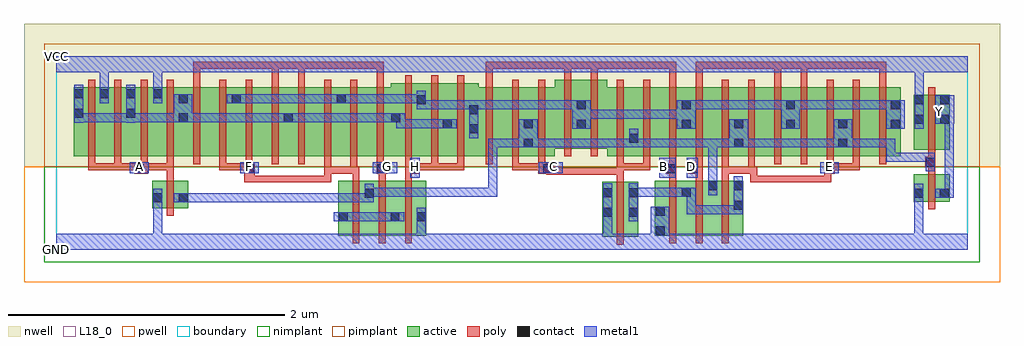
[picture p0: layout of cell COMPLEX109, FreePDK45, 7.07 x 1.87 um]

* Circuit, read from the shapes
.subckt COMPLEX109 A B C D E F G GND H VCC Y
M1 n1 A GND VSUBS nfet w=0.2u l=0.05u
M2 n1 F n2 VSUBS nfet w=0.4u l=0.05u
M3 n2 G n1 VSUBS nfet w=0.4u l=0.05u
M4 GND H n2 VSUBS nfet w=0.4u l=0.05u
M5 n3 C GND VSUBS nfet w=0.4u l=0.05u
M6 n3 B GND VSUBS nfet w=0.4u l=0.05u
M7 n1 D n3 VSUBS nfet w=0.4u l=0.05u
M8 n3 E n1 VSUBS nfet w=0.4u l=0.05u
M9 Y n1 GND VSUBS nfet w=0.2u l=0.05u
M10 VCC A n4 n5 pfet w=0.5u l=0.05u m=4
M11 n6 G n4 n5 pfet w=0.5u l=0.05u
M12 n7 F n6 n5 pfet w=0.5u l=0.05u
M13 n8 F n7 n5 pfet w=0.5u l=0.05u
M14 n4 G n8 n5 pfet w=0.5u l=0.05u
M15 n9 G n4 n5 pfet w=0.5u l=0.05u
M16 n7 F n9 n5 pfet w=0.5u l=0.05u
M17 n10 F n7 n5 pfet w=0.5u l=0.05u
M18 n4 G n10 n5 pfet w=0.5u l=0.05u
M19 n7 H n4 n5 pfet w=0.532u l=0.05u m=3
M20 n11 B n7 n5 pfet w=0.5u l=0.05u
M21 n1 C n11 n5 pfet w=0.5u l=0.05u
M22 n12 C n1 n5 pfet w=0.5u l=0.05u
M23 n7 B n12 n5 pfet w=0.5u l=0.05u
M24 n13 B n7 n5 pfet w=0.5u l=0.05u
M25 n1 C n13 n5 pfet w=0.5u l=0.05u
M26 n14 C n1 n5 pfet w=0.5u l=0.05u
M27 n7 B n14 n5 pfet w=0.5u l=0.05u
M28 n15 D n7 n5 pfet w=0.5u l=0.05u
M29 n1 E n15 n5 pfet w=0.5u l=0.05u
M30 n16 E n1 n5 pfet w=0.5u l=0.05u
M31 n7 D n16 n5 pfet w=0.5u l=0.05u
M32 n17 D n7 n5 pfet w=0.5u l=0.05u
M33 n1 E n17 n5 pfet w=0.5u l=0.05u
M34 n18 E n1 n5 pfet w=0.5u l=0.05u
M35 n7 D n18 n5 pfet w=0.5u l=0.05u
M36 Y n1 VCC n5 pfet w=0.4u l=0.05u
.ends

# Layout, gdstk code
import gdstk
lib = gdstk.Library(unit=1e-6, precision=1e-09)
def R(c, l, rs):  # rectangles x0, y0, x1, y1
    for r in rs: c.add(gdstk.rectangle(r[:2], r[2:], *l))
def A(c, l, x, y, w, h, nx, ny, dx, dy):  # array of equal rectangles
    R(c, l, [(x+i*dx, y+j*dy, x+i*dx+w, y+j*dy+h) for i in range(nx) for j in range(ny)])
active = (1, 0)
pwell = (2, 0)
nwell = (3, 0)
nimplant = (4, 0)
pimplant = (5, 0)
poly = (9, 0)
contact = (10, 0)
metal1 = (11, 0)
L18_0 = (18, 0)
boundary = (235, 0)

complex109 = lib.new_cell('COMPLEX109')
A(complex109, active, 3.99, 0.675, 0.23, 0.5, 3, 1, 0.38, 0)
A(complex109, active, 4.145, 0.675, 0.225, 0.5, 3, 1, 0.38, 0)
A(complex109, active, 5.13, 0.675, 0.225, 0.5, 3, 1, 0.38, 0)
R(complex109, active, [(3.955,0.092,4.215,0.492), (2.04,0.1,2.305,0.5), (2.23,0.1,2.49,0.5), (2.415,0.1,2.68,0.5), (2.605,0.1,2.68,0.5), (4.335,0.1,4.6,0.5), (4.335,0.1,4.41,0.5), (4.525,0.1,4.79,0.5), (4.715,0.1,4.975,0.5), (3.955,0.132,4.03,0.492), (2.04,0.147,2.115,0.5), (2.23,0.147,2.305,0.492), (2.415,0.147,2.49,0.492), (4.14,0.147,4.215,0.492), (4.525,0.147,4.6,0.5), (4.715,0.147,4.79,0.5), (4.9,0.147,4.975,0.5), (0.695,0.3,0.955,0.5), (0.88,0.3,0.955,0.5), (0.695,0.337,0.77,0.5), (6.21,0.347,6.285,0.547), (6.21,0.347,6.47,0.547), (6.395,0.347,6.47,0.547), (0.125,0.675,0.385,1.175), (0.125,0.675,0.2,1.165), (0.31,0.675,0.385,1.175), (0.31,0.675,0.575,1.175), (0.5,0.675,0.575,1.175), (0.5,0.675,0.77,1.175), (0.695,0.675,0.77,1.175), (0.695,0.675,0.955,1.175), (0.88,0.675,1.11,1.175), (0.88,0.675,0.955,1.175), (1.11,0.675,1.34,1.175), (1.265,0.675,1.49,1.175), (1.49,0.675,1.715,1.175), (1.64,0.675,1.87,1.175), (1.87,0.675,2.1,1.175), (2.025,0.675,2.1,1.157), (2.025,0.675,2.25,1.175), (2.25,0.675,2.495,1.175), (2.42,0.675,2.495,1.07), (2.42,0.675,2.68,1.207), (2.605,0.675,2.87,1.207), (2.795,0.675,2.87,1.07), (2.795,0.675,3.06,1.207), (2.985,0.675,3.06,1.157), (2.985,0.675,3.23,1.175), (3.23,0.675,3.455,1.175), (3.38,0.675,3.61,1.175), (3.38,0.675,3.455,1.07), (5.28,0.675,5.51,1.175), (5.66,0.675,5.89,1.175), (5.66,0.675,5.735,1.07), (6.04,0.675,6.115,1.157), (1.265,0.682,1.34,1.157), (4.145,0.682,4.22,1.07), (4.905,0.682,4.98,1.07), (6.212,0.722,6.472,1.122), (6.212,0.722,6.287,1.122), (6.397,0.722,6.472,1.122), (3.61,0.73,3.84,1.23), (3.765,0.73,3.99,1.23), (1.64,0.762,1.715,1.07), (3.765,0.762,3.84,1.157), (4.525,0.762,4.6,1.167), (5.28,0.762,5.355,1.157), (2.605,0.775,2.68,1.2)])
R(complex109, pwell, [(-0.235,-0.235,6.835,0.602)])
R(complex109, nwell, [(-0.235,0.602,6.835,1.635)])
R(complex109, nimplant, [(-0.09,-0.09,6.69,0.602)])
R(complex109, pimplant, [(-0.09,0.602,6.69,1.49)])
A(complex109, poly, 2.145, 0.045, 0.05, 0.51, 3, 1, 0.19, 0)
A(complex109, poly, 4.44, 0.045, 0.05, 0.51, 3, 1, 0.19, 0)
A(complex109, poly, 2.145, 0.505, 0.05, 0.095, 3, 1, 0.19, 0)
A(complex109, poly, 4.44, 0.505, 0.05, 0.095, 3, 1, 0.19, 0)
A(complex109, poly, 0.23, 0.575, 0.05, 0.095, 4, 1, 0.19, 0)
A(complex109, poly, 2.525, 0.575, 0.05, 0.095, 3, 1, 0.19, 0)
A(complex109, poly, 4.06, 0.575, 0.05, 0.095, 4, 1, 0.19, 0)
A(complex109, poly, 0.23, 0.62, 0.05, 0.61, 12, 1, 0.19, 0)
A(complex109, poly, 2.525, 0.62, 0.05, 0.642, 3, 1, 0.19, 0)
A(complex109, poly, 3.11, 0.62, 0.05, 0.61, 3, 1, 0.19, 0)
A(complex109, poly, 4.06, 0.62, 0.05, 0.61, 11, 1, 0.19, 0)
R(complex109, poly, [(4.06,0.037,4.11,0.547), (0.8,0.245,0.85,0.555), (6.315,0.292,6.365,0.602), (1.362,0.487,1.437,0.625), (1.387,0.487,1.65,0.537), (1.6,0.487,1.65,0.537), (1.6,0.487,1.65,0.537), (1.6,0.487,1.65,0.537), (1.6,0.487,1.782,0.537), (1.732,0.487,1.782,0.537), (1.732,0.487,1.782,0.537), (1.732,0.487,1.782,0.537), (1.732,0.487,1.915,0.537), (1.865,0.487,1.915,0.537), (1.865,0.487,1.99,0.537), (1.94,0.487,1.99,0.6), (5.025,0.487,5.075,0.6), (5.025,0.487,5.307,0.537), (5.257,0.487,5.307,0.537), (5.257,0.487,5.307,0.537), (5.257,0.487,5.307,0.537), (5.257,0.487,5.48,0.537), (5.43,0.487,5.48,0.537), (5.43,0.487,5.612,0.537), (5.562,0.487,5.612,0.6), (4.06,0.497,4.11,0.592), (0.8,0.505,0.85,0.625), (3.547,0.542,3.772,0.592), (3.547,0.542,3.597,0.6), (3.722,0.542,3.772,0.592), (3.722,0.542,3.772,0.592), (3.722,0.542,3.772,0.592), (3.722,0.542,3.905,0.592), (3.855,0.542,3.905,0.592), (3.855,0.542,3.905,0.592), (3.855,0.542,3.905,0.592), (3.855,0.542,4.11,0.592), (4.06,0.542,4.11,0.625), (0.562,0.55,0.66,0.625), (1.94,0.55,2.047,0.6), (1.94,0.55,1.99,0.67), (1.997,0.55,2.047,0.6), (1.997,0.55,2.18,0.6), (2.13,0.55,2.195,0.6), (2.13,0.55,2.18,0.67), (2.32,0.55,2.395,0.625), (2.525,0.55,2.632,0.625), (3.49,0.55,3.597,0.625), (3.547,0.55,3.597,0.6), (4.415,0.55,4.49,0.625), (4.577,0.55,4.68,0.625), (4.82,0.55,4.87,0.6), (4.82,0.55,4.87,0.6), (4.82,0.55,4.87,0.6), (4.82,0.55,5.06,0.6), (4.82,0.55,4.87,0.67), (5.01,0.55,5.06,0.6), (5.01,0.55,5.075,0.6), (5.01,0.55,5.06,0.67), (5.562,0.55,5.637,0.625), (5.562,0.55,5.612,0.6), (6.315,0.552,6.365,0.647), (0.23,0.575,0.28,0.625), (0.23,0.575,0.28,0.625), (0.23,0.575,0.28,0.625), (0.23,0.575,0.47,0.625), (0.42,0.575,0.47,0.625), (0.42,0.575,0.612,0.625), (0.562,0.575,0.612,0.625), (0.562,0.575,0.612,0.625), (0.61,0.575,0.85,0.625), (0.8,0.575,0.85,0.625), (0.8,0.575,0.85,0.625), (0.8,0.575,0.85,0.625), (1.18,0.575,1.23,0.67), (1.18,0.575,1.23,0.625), (1.18,0.575,1.412,0.625), (1.362,0.575,1.412,0.625), (1.362,0.575,1.412,0.625), (1.37,0.575,1.42,0.67), (2.32,0.575,2.37,0.67), (2.582,0.575,2.765,0.625), (2.715,0.575,2.765,0.625), (2.715,0.575,2.765,0.625), (2.715,0.575,2.765,0.625), (2.715,0.575,2.955,0.625), (2.905,0.575,2.955,0.625), (2.905,0.575,2.955,0.625), (2.905,0.575,2.955,0.625), (3.3,0.575,3.35,0.67), (3.3,0.575,3.35,0.625), (3.3,0.575,3.35,0.625), (3.3,0.575,3.35,0.625), (3.3,0.575,3.54,0.625), (3.49,0.575,3.54,0.67), (4.06,0.575,4.11,0.625), (4.06,0.575,4.11,0.625), (4.06,0.575,4.3,0.625), (4.25,0.575,4.3,0.625), (5.58,0.575,5.63,0.67), (5.587,0.575,5.82,0.625), (5.77,0.575,5.82,0.67), (5.77,0.575,5.82,0.625), (5.77,0.575,5.82,0.625), (5.77,0.575,5.82,0.625), (6.292,0.597,6.367,0.672), (6.317,0.622,6.367,0.717), (6.317,0.667,6.367,1.177), (3.68,0.675,3.73,1.285), (3.87,0.675,3.92,1.285), (0.99,1.18,1.04,1.362), (1.56,1.18,1.61,1.362), (1.75,1.18,1.8,1.362), (2.32,1.18,2.37,1.362), (3.11,1.18,3.16,1.362), (4.44,1.18,4.49,1.362), (4.63,1.18,4.68,1.362), (5.2,1.18,5.25,1.362), (5.39,1.18,5.44,1.362), (5.96,1.18,6.01,1.362), (3.68,1.235,3.73,1.362), (3.87,1.235,3.92,1.362), (0.99,1.312,1.04,1.362), (0.99,1.312,1.04,1.362), (0.99,1.312,1.04,1.362), (0.99,1.312,1.21,1.362), (1.16,1.312,1.21,1.362), (1.16,1.312,1.21,1.362), (1.16,1.312,1.21,1.362), (1.16,1.312,1.362,1.362), (1.312,1.312,1.362,1.362), (1.312,1.312,1.61,1.362), (1.56,1.312,1.61,1.362), (1.56,1.312,1.61,1.362), (1.56,1.312,1.61,1.362), (1.56,1.312,1.782,1.362), (1.732,1.312,1.782,1.362), (1.732,1.312,1.8,1.362), (1.75,1.312,1.8,1.362), (1.75,1.312,1.915,1.362), (1.865,1.312,1.915,1.362), (1.865,1.312,2.047,1.362), (1.997,1.312,2.047,1.362), (1.997,1.312,2.047,1.362), (1.997,1.312,2.047,1.362), (1.997,1.312,2.18,1.362), (2.13,1.312,2.18,1.362), (2.13,1.312,2.18,1.362), (2.13,1.312,2.18,1.362), (2.13,1.312,2.37,1.362), (2.32,1.312,2.37,1.362), (3.11,1.312,3.16,1.362), (3.11,1.312,3.16,1.362), (3.11,1.312,3.16,1.362), (3.11,1.312,3.33,1.362), (3.28,1.312,3.33,1.362), (3.28,1.312,3.33,1.362), (3.28,1.312,3.33,1.362), (3.28,1.312,3.597,1.362), (3.547,1.312,3.597,1.362), (3.547,1.312,3.597,1.362), (3.547,1.312,3.597,1.362), (3.547,1.312,3.73,1.362), (3.68,1.312,3.73,1.362), (3.68,1.312,3.73,1.362), (3.68,1.312,3.73,1.362), (3.68,1.312,3.92,1.362), (3.87,1.312,3.92,1.362), (3.87,1.312,3.92,1.362), (3.87,1.312,3.92,1.362), (3.87,1.312,4.167,1.362), (4.117,1.312,4.167,1.362), (4.117,1.312,4.332,1.362), (4.282,1.312,4.332,1.362), (4.282,1.312,4.332,1.362), (4.282,1.312,4.332,1.362), (4.282,1.312,4.49,1.362), (4.44,1.312,4.49,1.362), (4.44,1.312,4.49,1.362), (4.44,1.312,4.49,1.362), (4.63,1.312,4.68,1.362), (4.63,1.312,4.68,1.362), (4.63,1.312,4.68,1.362), (4.63,1.312,4.927,1.362), (4.877,1.312,4.927,1.362), (4.877,1.312,4.927,1.362), (4.877,1.312,4.927,1.362), (4.877,1.312,5.117,1.362), (5.067,1.312,5.117,1.362), (5.067,1.312,5.117,1.362), (5.067,1.312,5.117,1.362), (5.067,1.312,5.25,1.362), (5.2,1.312,5.25,1.362), (5.2,1.312,5.307,1.362), (5.257,1.312,5.307,1.362), (5.257,1.312,5.44,1.362), (5.39,1.312,5.44,1.362), (5.39,1.312,5.44,1.362), (5.39,1.312,5.44,1.362), (5.39,1.312,5.637,1.362), (5.587,1.312,5.637,1.362), (5.587,1.312,5.77,1.362), (5.72,1.312,5.77,1.362), (5.72,1.312,5.77,1.362), (5.72,1.312,5.77,1.362), (5.72,1.312,6.01,1.362), (5.96,1.312,6.01,1.362), (5.96,1.312,6.01,1.362), (5.96,1.312,6.01,1.362)])
R(complex109, contact, [(4.34,0.105,4.405,0.17), (2.045,0.205,2.11,0.27), (2.42,0.205,2.485,0.27), (2.61,0.205,2.675,0.27), (3.96,0.24,4.025,0.305), (4.145,0.24,4.21,0.305), (4.34,0.245,4.405,0.31), (4.905,0.29,4.97,0.355), (0.7,0.342,0.765,0.407), (0.885,0.342,0.95,0.407), (2.235,0.377,2.3,0.442), (6.215,0.377,6.28,0.442), (6.4,0.377,6.465,0.442), (3.96,0.38,4.025,0.445), (4.145,0.38,4.21,0.445), (4.53,0.382,4.595,0.447), (4.72,0.43,4.785,0.495), (4.905,0.43,4.97,0.495), (0.567,0.555,0.632,0.62), (1.367,0.555,1.432,0.62), (2.325,0.555,2.39,0.62), (2.562,0.555,2.627,0.62), (3.527,0.555,3.592,0.62), (4.42,0.555,4.485,0.62), (4.582,0.555,4.647,0.62), (5.567,0.555,5.632,0.62), (6.297,0.602,6.362,0.667), (3.385,0.74,3.45,0.805), (4.91,0.74,4.975,0.805), (5.665,0.74,5.73,0.805), (4.15,0.775,4.215,0.84), (2.99,0.842,3.055,0.907), (3.77,0.877,3.835,0.942), (4.53,0.877,4.595,0.942), (5.285,0.877,5.35,0.942), (6.045,0.877,6.11,0.942), (2.8,0.88,2.865,0.945), (3.385,0.88,3.45,0.945), (4.91,0.88,4.975,0.945), (5.665,0.88,5.73,0.945), (6.217,0.912,6.282,0.977), (6.402,0.912,6.467,0.977), (0.885,0.922,0.95,0.987), (1.645,0.922,1.71,0.987), (2.425,0.922,2.49,0.987), (0.13,0.955,0.195,1.02), (0.505,0.955,0.57,1.02), (2.99,0.982,3.055,1.047), (3.77,1.017,3.835,1.082), (4.53,1.017,4.595,1.082), (5.285,1.017,5.35,1.082), (6.045,1.017,6.11,1.082), (2.61,1.052,2.675,1.117), (6.217,1.052,6.282,1.117), (6.402,1.052,6.467,1.117), (1.27,1.06,1.335,1.125), (2.03,1.06,2.095,1.125), (0.885,1.062,0.95,1.127), (0.13,1.095,0.195,1.16), (0.315,1.095,0.38,1.16), (0.505,1.095,0.57,1.16), (0.7,1.095,0.765,1.16)])
A(complex109, metal1, 4.565, 0.74, 0.065, 0.065, 3, 1, 0.155, 0)
R(complex109, metal1, [(0,0,6.6,0.115), (0.7,0.05,0.765,0.115), (0.7,0.05,0.765,0.115), (0.7,0.05,0.765,0.372), (2.61,0.05,2.675,0.235), (3.96,0.05,4.025,0.27), (4.375,0.05,4.44,0.17), (6.215,0.05,6.28,0.115), (6.215,0.05,6.28,0.115), (6.215,0.05,6.28,0.407), (4.305,0.105,4.44,0.31), (2.61,0.17,2.675,0.305), (2.01,0.205,2.145,0.27), (2.08,0.205,2.145,0.27), (2.08,0.205,2.145,0.27), (2.08,0.205,2.3,0.27), (2.235,0.205,2.3,0.27), (2.235,0.205,2.3,0.27), (2.235,0.205,2.3,0.27), (2.235,0.205,2.45,0.27), (2.385,0.205,2.52,0.27), (3.96,0.205,4.025,0.48), (4.145,0.205,4.21,0.48), (4.905,0.255,4.97,0.53), (4.565,0.257,4.767,0.322), (4.565,0.257,4.63,0.447), (4.702,0.257,4.767,0.322), (4.702,0.257,4.97,0.322), (4.905,0.257,4.97,0.322), (4.905,0.257,4.97,0.322), (0.7,0.307,0.765,0.372), (0.7,0.307,0.765,0.372), (0.7,0.307,0.765,0.442), (0.85,0.342,0.985,0.407), (0.92,0.342,0.985,0.407), (0.92,0.342,0.985,0.407), (0.92,0.342,1.122,0.407), (1.057,0.342,1.122,0.407), (1.057,0.342,1.26,0.407), (1.195,0.342,1.26,0.407), (1.195,0.342,1.26,0.407), (1.195,0.342,1.26,0.407), (1.195,0.342,1.537,0.407), (1.472,0.342,1.537,0.407), (1.472,0.342,1.537,0.407), (1.472,0.342,1.537,0.407), (1.472,0.342,1.675,0.407), (1.61,0.342,1.675,0.407), (1.61,0.342,1.675,0.407), (1.61,0.342,1.675,0.407), (1.61,0.342,1.812,0.407), (1.747,0.342,1.812,0.407), (1.747,0.342,1.882,0.407), (1.817,0.342,1.882,0.407), (1.817,0.342,1.992,0.407), (1.927,0.342,1.992,0.407), (1.927,0.342,2.13,0.407), (2.065,0.342,2.13,0.407), (2.065,0.342,2.13,0.407), (2.065,0.342,2.13,0.407), (2.065,0.342,2.3,0.407), (2.235,0.342,2.3,0.477), (6.215,0.342,6.28,0.407), (6.215,0.342,6.28,0.407), (6.215,0.342,6.28,0.477), (6.365,0.377,6.5,0.442), (6.435,0.377,6.5,0.977), (6.435,0.377,6.5,0.442), (6.435,0.377,6.5,0.442), (6.435,0.377,6.5,0.442), (6.435,0.377,6.5,0.442), (6.435,0.377,6.5,0.442), (6.435,0.377,6.5,0.442), (2.235,0.382,2.3,0.447), (2.235,0.382,2.3,0.447), (2.235,0.382,2.537,0.447), (2.472,0.382,2.537,0.447), (2.472,0.382,2.537,0.447), (2.472,0.382,2.537,0.447), (2.472,0.382,2.675,0.447), (2.61,0.382,2.675,0.447), (2.61,0.382,2.675,0.447), (2.61,0.382,2.675,0.447), (2.61,0.382,2.812,0.447), (2.747,0.382,2.812,0.447), (2.747,0.382,2.812,0.447), (2.747,0.382,2.812,0.447), (2.747,0.382,2.95,0.447), (2.885,0.382,2.95,0.447), (2.885,0.382,2.95,0.447), (2.885,0.382,2.95,0.447), (2.885,0.382,2.95,0.447), (2.885,0.382,2.95,0.447), (2.885,0.382,3.192,0.447), (3.127,0.382,3.192,0.447), (3.127,0.382,3.192,0.805), (4.145,0.382,4.21,0.447), (4.145,0.382,4.21,0.447), (4.145,0.382,4.352,0.447), (4.287,0.382,4.352,0.447), (4.287,0.382,4.352,0.447), (4.287,0.382,4.352,0.447), (4.287,0.382,4.56,0.447), (4.495,0.382,4.63,0.447), (4.565,0.382,4.63,0.447), (4.72,0.395,4.785,0.53), (4.72,0.465,4.785,0.53), (4.72,0.465,4.785,0.53), (4.72,0.465,4.785,0.805), (2.562,0.52,2.632,0.667), (4.367,0.52,4.485,0.667), (4.567,0.52,4.647,0.667), (0.532,0.555,0.667,0.632), (1.332,0.555,1.467,0.632), (2.29,0.555,2.467,0.632), (3.492,0.555,3.667,0.632), (5.532,0.555,5.667,0.632), (6.297,0.567,6.362,0.702), (6.01,0.637,6.075,0.702), (6.01,0.637,6.212,0.702), (6.01,0.637,6.075,0.805), (6.147,0.637,6.212,0.702), (6.147,0.637,6.362,0.702), (3.127,0.74,3.192,0.805), (3.127,0.74,3.192,0.805), (3.127,0.74,3.192,0.805), (3.127,0.74,3.415,0.805), (3.35,0.74,3.485,0.945), (3.42,0.74,3.485,0.805), (3.42,0.74,3.485,0.805), (3.42,0.74,3.662,0.805), (3.597,0.74,3.662,0.805), (3.597,0.74,3.662,0.805), (3.597,0.74,3.662,0.805), (3.597,0.74,3.8,0.805), (3.735,0.74,3.8,0.805), (3.735,0.74,3.8,0.805), (3.735,0.74,3.8,0.805), (3.735,0.74,4.072,0.805), (4.007,0.74,4.072,0.805), (4.007,0.74,4.072,0.805), (4.007,0.74,4.072,0.805), (4.007,0.74,4.215,0.805), (4.15,0.74,4.215,0.805), (4.15,0.74,4.215,0.805), (4.15,0.74,4.215,0.875), (4.15,0.74,4.422,0.805), (4.357,0.74,4.422,0.805), (4.357,0.74,4.422,0.805), (4.357,0.74,4.422,0.805), (4.357,0.74,4.63,0.805), (4.565,0.74,4.63,0.805), (4.565,0.74,4.63,0.805), (4.565,0.74,4.785,0.805), (4.72,0.74,4.94,0.805), (4.875,0.74,5.01,0.945), (4.875,0.74,4.94,0.805), (4.945,0.74,5.107,0.805), (5.042,0.74,5.107,0.805), (5.042,0.74,5.147,0.805), (5.082,0.74,5.147,0.805), (5.082,0.74,5.247,0.805), (5.182,0.74,5.247,0.805), (5.182,0.74,5.385,0.805), (5.32,0.74,5.385,0.805), (5.32,0.74,5.385,0.805), (5.32,0.74,5.385,0.805), (5.32,0.74,5.522,0.805), (5.457,0.74,5.522,0.805), (5.457,0.74,5.522,0.805), (5.457,0.74,5.522,0.805), (5.457,0.74,5.695,0.805), (5.63,0.74,5.765,0.945), (5.7,0.74,5.937,0.805), (5.872,0.74,5.937,0.805), (5.872,0.74,5.937,0.805), (5.872,0.74,5.937,0.805), (5.872,0.74,6.075,0.805), (6.01,0.74,6.075,0.805), (6.01,0.74,6.075,0.805), (6.01,0.74,6.075,0.805), (2.99,0.807,3.055,1.082), (3.735,0.877,3.87,1.082), (4.495,0.877,4.63,1.082), (5.25,0.877,5.385,1.082), (6.01,0.877,6.145,1.082), (6.217,0.877,6.282,1.152), (2.46,0.88,2.675,0.945), (2.46,0.88,2.525,0.987), (2.61,0.88,2.675,0.945), (2.61,0.88,2.675,0.945), (2.61,0.88,2.675,0.945), (2.61,0.88,2.83,0.945), (2.765,0.88,2.9,0.945), (6.367,0.912,6.502,1.117), (0.13,0.92,0.195,1.195), (0.505,0.92,0.57,1.195), (0.13,0.922,0.195,0.987), (0.13,0.922,0.195,0.987), (0.13,0.922,0.332,0.987), (0.267,0.922,0.332,0.987), (0.267,0.922,0.332,0.987), (0.267,0.922,0.332,0.987), (0.267,0.922,0.57,0.987), (0.505,0.922,0.57,0.987), (0.505,0.922,0.57,0.987), (0.505,0.922,0.707,0.987), (0.642,0.922,0.707,0.987), (0.642,0.922,0.707,0.987), (0.642,0.922,0.707,0.987), (0.642,0.922,0.915,0.987), (0.85,0.922,0.985,1.127), (0.92,0.922,0.985,0.987), (0.92,0.922,0.985,0.987), (0.92,0.922,1.122,0.987), (1.057,0.922,1.122,0.987), (1.057,0.922,1.122,0.987), (1.057,0.922,1.122,0.987), (1.057,0.922,1.397,0.987), (1.332,0.922,1.397,0.987), (1.332,0.922,1.397,0.987), (1.332,0.922,1.397,0.987), (1.332,0.922,1.535,0.987), (1.47,0.922,1.535,0.987), (1.47,0.922,1.675,0.987), (1.61,0.922,1.675,0.987), (1.61,0.922,1.675,0.987), (1.61,0.922,1.745,0.987), (1.68,0.922,1.812,0.987), (1.747,0.922,1.812,0.987), (1.747,0.922,1.922,0.987), (1.857,0.922,1.922,0.987), (1.857,0.922,1.95,0.987), (1.885,0.922,1.95,0.987), (1.885,0.922,2.162,0.987), (2.097,0.922,2.162,0.987), (2.097,0.922,2.162,0.987), (2.097,0.922,2.162,0.987), (2.097,0.922,2.312,0.987), (2.247,0.922,2.312,0.987), (2.247,0.922,2.312,0.987), (2.247,0.922,2.312,0.987), (2.247,0.922,2.455,0.987), (2.39,0.922,2.525,0.987), (2.46,0.922,2.525,0.987), (3.805,0.947,3.87,1.012), (3.805,0.947,3.87,1.012), (3.805,0.947,4.007,1.012), (3.942,0.947,4.007,1.012), (3.942,0.947,4.007,1.012), (3.942,0.947,4.007,1.012), (3.942,0.947,4.215,1.012), (4.15,0.947,4.215,1.012), (4.15,0.947,4.215,1.012), (4.15,0.947,4.215,1.012), (4.15,0.947,4.352,1.012), (4.287,0.947,4.352,1.012), (4.287,0.947,4.352,1.012), (4.287,0.947,4.352,1.012), (4.287,0.947,4.56,1.012), (2.61,1.017,2.675,1.082), (2.61,1.017,2.675,1.082), (2.61,1.017,2.675,1.152), (2.61,1.017,2.812,1.082), (2.747,1.017,2.812,1.082), (2.747,1.017,2.812,1.082), (2.747,1.017,2.812,1.082), (2.747,1.017,3.055,1.082), (2.99,1.017,3.055,1.082), (2.99,1.017,3.055,1.082), (2.99,1.017,3.192,1.082), (3.127,1.017,3.192,1.082), (3.127,1.017,3.192,1.082), (3.127,1.017,3.192,1.082), (3.127,1.017,3.33,1.082), (3.265,1.017,3.33,1.082), (3.265,1.017,3.33,1.082), (3.265,1.017,3.33,1.082), (3.265,1.017,3.622,1.082), (3.557,1.017,3.622,1.082), (3.557,1.017,3.622,1.082), (3.557,1.017,3.622,1.082), (3.557,1.017,3.8,1.082), (4.565,1.017,4.63,1.082), (4.565,1.017,4.63,1.082), (4.565,1.017,4.802,1.082), (4.737,1.017,4.802,1.082), (4.737,1.017,4.97,1.082), (4.905,1.017,4.97,1.082), (4.905,1.017,4.97,1.082), (4.905,1.017,4.97,1.082), (4.905,1.017,5.11,1.082), (5.045,1.017,5.11,1.082), (5.045,1.017,5.147,1.082), (5.082,1.017,5.147,1.082), (5.082,1.017,5.247,1.082), (5.182,1.017,5.247,1.082), (5.182,1.017,5.315,1.082), (5.32,1.017,5.385,1.082), (5.32,1.017,5.385,1.082), (5.32,1.017,5.522,1.082), (5.457,1.017,5.522,1.082), (5.457,1.017,5.66,1.082), (5.595,1.017,5.66,1.082), (5.595,1.017,5.66,1.082), (5.595,1.017,5.66,1.082), (5.595,1.017,5.902,1.082), (5.837,1.017,5.902,1.082), (5.837,1.017,5.902,1.082), (5.837,1.017,5.902,1.082), (5.837,1.017,6.075,1.082), (6.01,1.017,6.075,1.082), (6.01,1.017,6.075,1.082), (0.315,1.06,0.38,1.195), (0.7,1.06,0.765,1.195), (1.235,1.06,1.37,1.125), (1.305,1.06,1.535,1.125), (1.47,1.06,1.535,1.125), (1.47,1.06,1.535,1.125), (1.47,1.06,1.535,1.125), (1.47,1.06,1.675,1.125), (1.61,1.06,1.675,1.125), (1.61,1.06,1.675,1.125), (1.61,1.06,1.675,1.125), (1.61,1.06,1.812,1.125), (1.747,1.06,1.812,1.125), (1.747,1.06,1.922,1.125), (1.857,1.06,1.922,1.125), (1.857,1.06,1.992,1.125), (1.927,1.06,1.992,1.125), (1.927,1.06,2.06,1.125), (1.995,1.06,2.13,1.125), (2.065,1.06,2.13,1.125), (2.065,1.06,2.13,1.125), (2.065,1.06,2.312,1.125), (2.247,1.06,2.312,1.125), (2.247,1.06,2.312,1.125), (2.247,1.06,2.312,1.125), (2.247,1.06,2.537,1.125), (2.472,1.06,2.537,1.125), (2.472,1.06,2.537,1.125), (2.472,1.06,2.537,1.125), (2.472,1.06,2.675,1.125), (6.217,1.087,6.282,1.152), (6.217,1.087,6.282,1.152), (6.217,1.087,6.282,1.35), (0.315,1.13,0.38,1.195), (0.315,1.13,0.38,1.195), (0.315,1.13,0.38,1.35), (0.7,1.13,0.765,1.195), (0.7,1.13,0.765,1.195), (0.7,1.13,0.765,1.35), (0,1.285,6.6,1.4)])
R(complex109, L18_0, [(0,0,6.6,0.115), (0.7,0.05,0.765,0.115), (0.7,0.05,0.765,0.115), (0.7,0.05,0.765,0.372), (2.61,0.05,2.675,0.235), (3.96,0.05,4.025,0.27), (4.375,0.05,4.44,0.17), (6.215,0.05,6.28,0.115), (6.215,0.05,6.28,0.115), (6.215,0.05,6.28,0.407), (4.305,0.105,4.44,0.31), (2.61,0.17,2.675,0.305), (3.96,0.205,4.025,0.48), (0.7,0.307,0.765,0.442), (0.7,0.307,0.765,0.372), (0.7,0.307,0.765,0.372), (6.215,0.342,6.28,0.477), (6.215,0.342,6.28,0.407), (6.215,0.342,6.28,0.407), (6.365,0.377,6.5,0.442), (6.435,0.377,6.5,0.442), (6.435,0.377,6.5,0.442), (6.435,0.377,6.5,0.442), (6.435,0.377,6.5,0.442), (6.435,0.377,6.5,0.442), (6.435,0.377,6.5,0.442), (6.435,0.377,6.5,0.977), (2.562,0.52,2.632,0.667), (4.367,0.52,4.485,0.667), (4.567,0.52,4.647,0.667), (0.532,0.555,0.667,0.632), (1.332,0.555,1.467,0.632), (2.29,0.555,2.467,0.632), (3.492,0.555,3.667,0.632), (5.532,0.555,5.667,0.632), (0.567,0.567,0.632,0.632), (1.367,0.567,1.432,0.632), (2.367,0.567,2.432,0.632), (2.567,0.567,2.632,0.632), (3.567,0.567,3.632,0.632), (4.367,0.567,4.432,0.632), (4.567,0.567,4.632,0.632), (5.567,0.567,5.632,0.632), (6.217,0.877,6.282,1.152), (6.367,0.912,6.502,1.117), (6.367,0.967,6.432,1.032), (0.315,1.06,0.38,1.195), (0.7,1.06,0.765,1.195), (6.217,1.087,6.282,1.152), (6.217,1.087,6.282,1.152), (6.217,1.087,6.282,1.35), (0.315,1.13,0.38,1.195), (0.315,1.13,0.38,1.195), (0.315,1.13,0.38,1.35), (0.7,1.13,0.765,1.195), (0.7,1.13,0.765,1.195), (0.7,1.13,0.765,1.35), (0,1.285,6.6,1.4)])
R(complex109, boundary, [(0,0,6.6,1.4)])
complex109.add(gdstk.Label('A', (0.6,0.6), layer=11, texttype=0))
complex109.add(gdstk.Label('B', (4.4,0.6), layer=11, texttype=0))
complex109.add(gdstk.Label('C', (3.6,0.6), layer=11, texttype=0))
complex109.add(gdstk.Label('D', (4.6,0.6), layer=11, texttype=0))
complex109.add(gdstk.Label('E', (5.6,0.6), layer=11, texttype=0))
complex109.add(gdstk.Label('F', (1.4,0.6), layer=11, texttype=0))
complex109.add(gdstk.Label('G', (2.4,0.6), layer=11, texttype=0))
complex109.add(gdstk.Label('H', (2.6,0.6), layer=11, texttype=0))
complex109.add(gdstk.Label('Y', (6.4,1), layer=11, texttype=0))
complex109.add(gdstk.Label('VCC', (0,1.4), layer=11, texttype=0))
complex109.add(gdstk.Label('GND', (0,0), layer=11, texttype=0))

lib.write_gds('COMPLEX109.gds')
